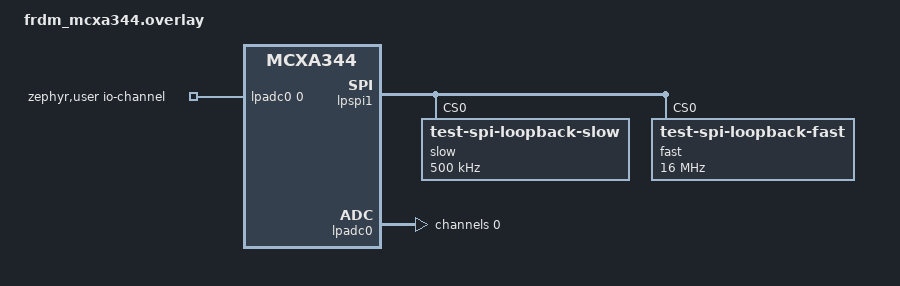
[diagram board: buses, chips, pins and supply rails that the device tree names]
/*
 * Copyright 2025 NXP
 *
 * SPDX-License-Identifier: Apache-2.0
 */

/* To test this sample, connect
 * LPSPI1 MOSI(J2-8, P3_8/LPSPI1_SDO)     -->        LPSPI0 MISO(J2-10, P3_9/LPSPI1_SDI)
 */
&lpspi1 {
	slow@0 {
		compatible = "test-spi-loopback-slow";
		reg = <0>;
		spi-max-frequency = <500000>;
	};

	fast@0 {
		compatible = "test-spi-loopback-fast";
		reg = <0>;
		spi-max-frequency = <16000000>;
	};
};

#include <zephyr/dt-bindings/adc/adc.h>

#include <zephyr/dt-bindings/adc/mcux-lpadc.h>

/ {
	zephyr,user {
		io-channels = <&lpadc0 0>;
	};
};

&lpadc0 {
	#address-cells = <1>;
	#size-cells = <0>;
	channel@0 {
		reg = <0>;
		zephyr,gain = "ADC_GAIN_1";
		zephyr,reference = "ADC_REF_EXTERNAL0";
		zephyr,vref-mv = <3300>;
		zephyr,acquisition-time = <ADC_ACQ_TIME_DEFAULT>;
		zephyr,resolution = <16>;
		zephyr,input-positive = <MCUX_LPADC_CH7A>;
	};
};
